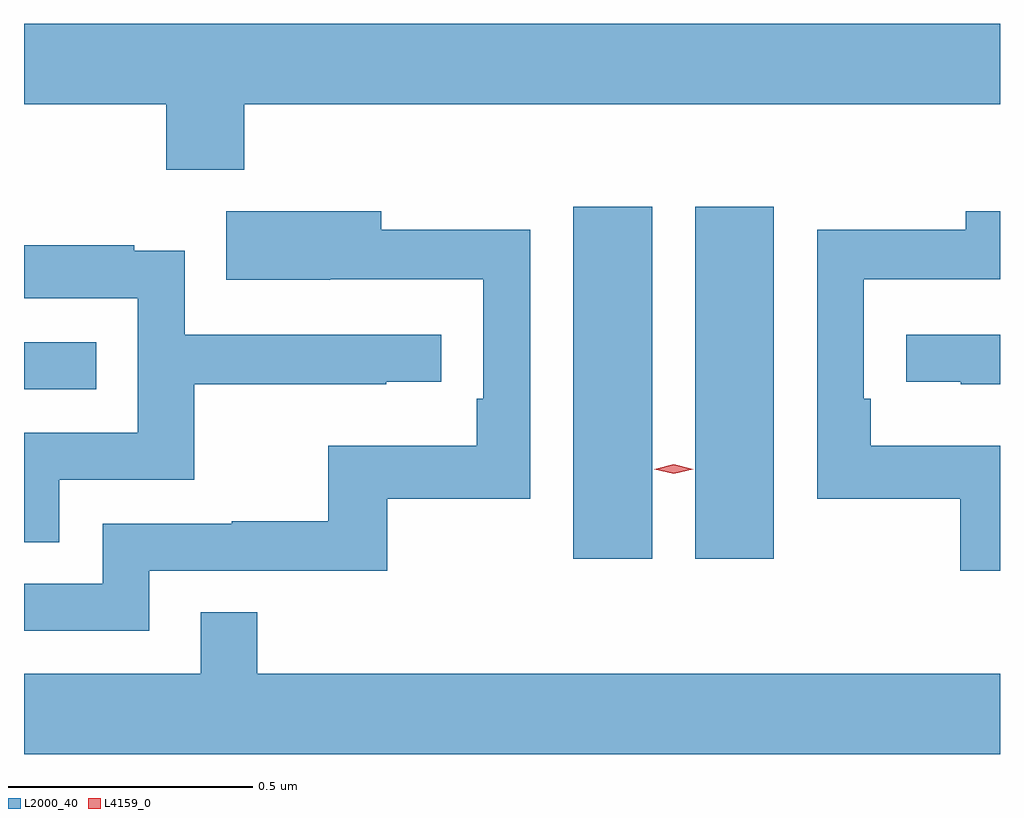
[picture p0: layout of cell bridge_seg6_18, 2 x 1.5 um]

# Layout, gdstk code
import gdstk
lib = gdstk.Library(unit=1e-6, precision=1e-09)
def R(c, l, rs):  # rectangles x0, y0, x1, y1
    for r in rs: c.add(gdstk.rectangle(r[:2], r[2:], *l))
def P(c, l, *ps):  # polygons
    for p in ps: c.add(gdstk.Polygon(p, *l))
L2000_40 = (2000, 40)
L4159_0 = (4159, 0)

bridge_seg6_18 = lib.new_cell('bridge_seg6_18')
R(bridge_seg6_18, L2000_40, [(969.857,938.412,970.018,939.133), (970.106,938.412,970.267,939.133), (968.731,938.76,968.879,938.856)])
P(bridge_seg6_18, L2000_40, [(969.182,939.344),(970.731,939.344),(970.731,939.508),(968.731,939.508),(968.731,939.344),(969.022,939.344),(969.022,939.209),(969.182,939.209)],
  [(970.731,938.644),(970.466,938.644),(970.466,938.74),(970.452,938.74),(970.452,938.985),(970.731,938.985),(970.731,939.124),(970.661,939.124),(970.661,939.086),(970.356,939.086),(970.356,938.535),(970.65,938.535),(970.65,938.388),(970.731,938.388)],
  [(968.988,938.388),(969.475,938.388),(969.475,938.535),(969.768,938.535),(969.768,939.086),(969.463,939.086),(969.463,939.124),(969.145,939.124),(969.145,938.984),(969.359,938.984),(969.359,938.985),(969.672,938.985),(969.672,938.74),(969.659,938.74),(969.659,938.644),(969.354,938.644),(969.354,938.489),(969.157,938.489),(969.157,938.484),(968.892,938.484),(968.892,938.361),(968.731,938.361),(968.731,938.265),(968.988,938.265)],
  [(968.803,938.574),(969.08,938.574),(969.08,938.77),(969.473,938.77),(969.473,938.775),(969.586,938.775),(969.586,938.871),(969.06,938.871),(969.06,939.043),(968.957,939.043),(968.957,939.055),(968.731,939.055),(968.731,938.946),(968.964,938.946),(968.964,938.67),(968.731,938.67),(968.731,938.446),(968.803,938.446)],
  [(970.731,938.871),(970.539,938.871),(970.539,938.775),(970.651,938.775),(970.651,938.77),(970.731,938.77)],
  [(970.731,938.176),(969.209,938.176),(969.209,938.303),(969.093,938.303),(969.093,938.176),(968.731,938.176),(968.731,938.012),(970.731,938.012)])
P(bridge_seg6_18, L4159_0, [(970.062,938.586),(970.022,938.596),(970.022,938.596),(970.022,938.596),(970.062,938.606),(970.102,938.596),(970.102,938.596),(970.102,938.596)])

lib.write_gds('bridge_seg6_18.gds')
